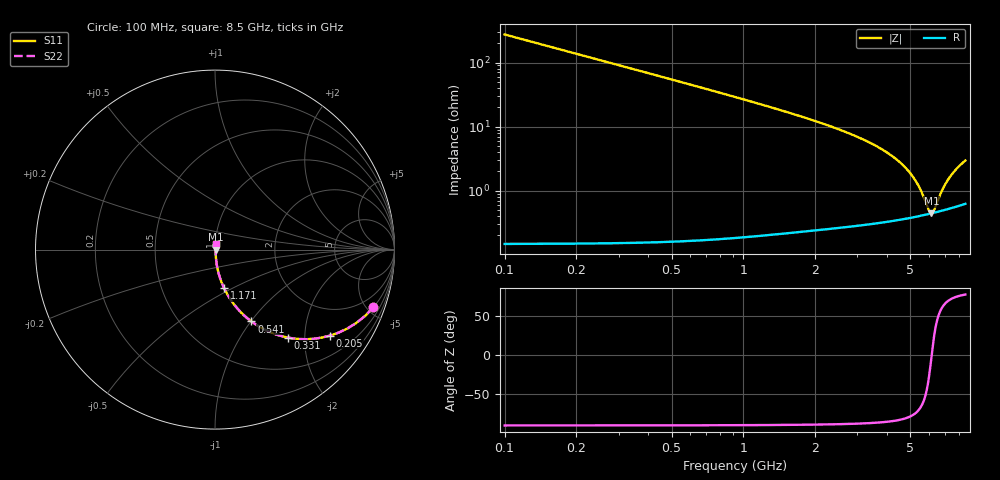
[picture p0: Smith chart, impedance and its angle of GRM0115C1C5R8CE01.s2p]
!Murata Part Number: GRM0115C1C5R8CE01
!These Parameters are Measured in Series Mode Connection
!Data Generated on Mar 30, 2021
!  o--ll--o
!Port1  Port2
!  o------o
!Operation Temp=25[degC], DC Bias Voltage=0[V]
!Freq. Start=100[MHz] Stop=9[GHz] 401[Steps]
# Hz S RI R 50
!Freq.(Hz) S11(Real) S11(Imag) S21(Real) S21(Imag) S12(Real) S12(Imag) S22(Real) S22(Imag)
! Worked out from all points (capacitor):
!   401 points, 100 MHz to 8.5 GHz, reference 50 ohm
!   read as one part in series: C = 5.8 pF near 142 MHz
!   lowest |Z| = 443 mohm at 6.127 GHz (marker M1)
!   series resonance near 6.14 GHz, so ESL is about 120 pH
!   S11 on the Smith chart (normalised r, x): 100 MHz: 1.00, -5.49; 205 MHz: 1.00, -2.67; 331 MHz: 1.00, -1.65; 541 MHz: 1.00, -1.01; 1.171 GHz: 1.00, -0.45; 8.5 GHz: 1.01, +0.06
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1e8  0.8826 -0.3217  0.1174 0.3217  0.1174 0.3217  0.8826 -0.3217
1.42e8  0.7884 -0.4081  0.2116 0.4081  0.2116 0.4081  0.7884 -0.4081
2.05e8  0.6411 -0.4791  0.3589 0.4791  0.3589 0.4791  0.6411 -0.4791
3.31e8  0.406 -0.4902  0.594 0.4902  0.594 0.4902  0.406 -0.4902
4.36e8  0.282 -0.4487  0.718 0.4487  0.718 0.4487  0.282 -0.4487
5.41e8  0.2026 -0.4004  0.7974 0.4004  0.7974 0.4004  0.2026 -0.4004
7.93e8  0.1047 -0.3037  0.8953 0.3037  0.8953 0.3037  0.1047 -0.3037
1.171e9  0.05 -0.2136  0.95 0.2136  0.95 0.2136  0.05 -0.2136
1.507e9  0.0302 -0.165  0.9698 0.165  0.9698 0.165  0.0302 -0.165
2.914e9  0.00797 -0.0717  0.992 0.0717  0.992 0.0717  0.00797 -0.0717
4.3e9  0.00442 -0.032  0.9956 0.032  0.9956 0.032  0.00442 -0.032
4.741e9  0.00414 -0.023  0.9959 0.023  0.9959 0.023  0.00414 -0.023
5.119e9  0.00407 -0.016  0.9959 0.016  0.9959 0.016  0.00407 -0.016
5.434e9  0.00411 -0.0107  0.9959 0.0107  0.9959 0.0107  0.00411 -0.0107
5.707e9  0.00419 -0.00641  0.9958 0.00641  0.9958 0.00641  0.00419 -0.00641
5.98e9  0.00432 -0.00231  0.9957 0.00231  0.9957 0.00231  0.00432 -0.00231
6.127e9  0.00441 -0.00019  0.9956 0.00019  0.9956 0.00019  0.00441 -0.00019
6.274e9  0.00451 0.00188  0.9955 -0.00188  0.9955 -0.00188  0.00451 0.00188
6.715e9  0.00486 0.0078  0.9951 -0.0078  0.9951 -0.0078  0.00486 0.0078
7.114e9  0.00525 0.0128  0.9947 -0.0128  0.9947 -0.0128  0.00525 0.0128
7.723e9  0.00596 0.02  0.994 -0.02  0.994 -0.02  0.00596 0.02
8.5e9  0.00701 0.0285  0.993 -0.0285  0.993 -0.0285  0.00701 0.0285
